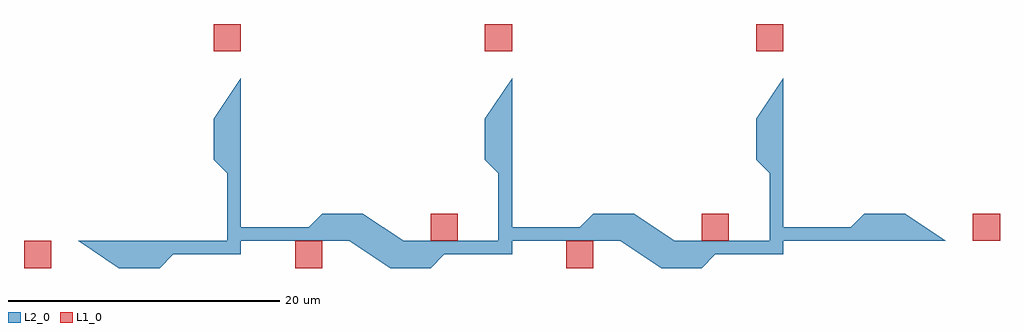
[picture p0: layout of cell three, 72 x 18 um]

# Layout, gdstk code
from math import pi, radians
import gdstk
lib = gdstk.Library(unit=1e-6, precision=1e-09)
def R(c, l, rs):  # rectangles x0, y0, x1, y1
    for r in rs: c.add(gdstk.rectangle(r[:2], r[2:], *l))
def P(c, l, *ps):  # polygons
    for p in ps: c.add(gdstk.Polygon(p, *l))
L1_0 = (1, 0)
L2_0 = (2, 0)

wing = lib.new_cell('wing')
R(wing, L1_0, [(14,0,16,2)])
P(wing, L2_0, [(0,0),(0,1),(5,1),(6,2),(9,2),(12,0)])

top = lib.new_cell('top')
top.add(gdstk.Reference(wing, (0,0)))
top.add(gdstk.Reference(wing, (0,0), rotation=pi/2))
top.add(gdstk.Reference(wing, (0,0), rotation=pi))

three = lib.new_cell('three')
three.add(gdstk.Reference(top, (20,0)))
three.add(gdstk.Reference(top, (40,0)))
three.add(gdstk.Reference(top, (0,0)))

lib.write_gds('three.gds')
